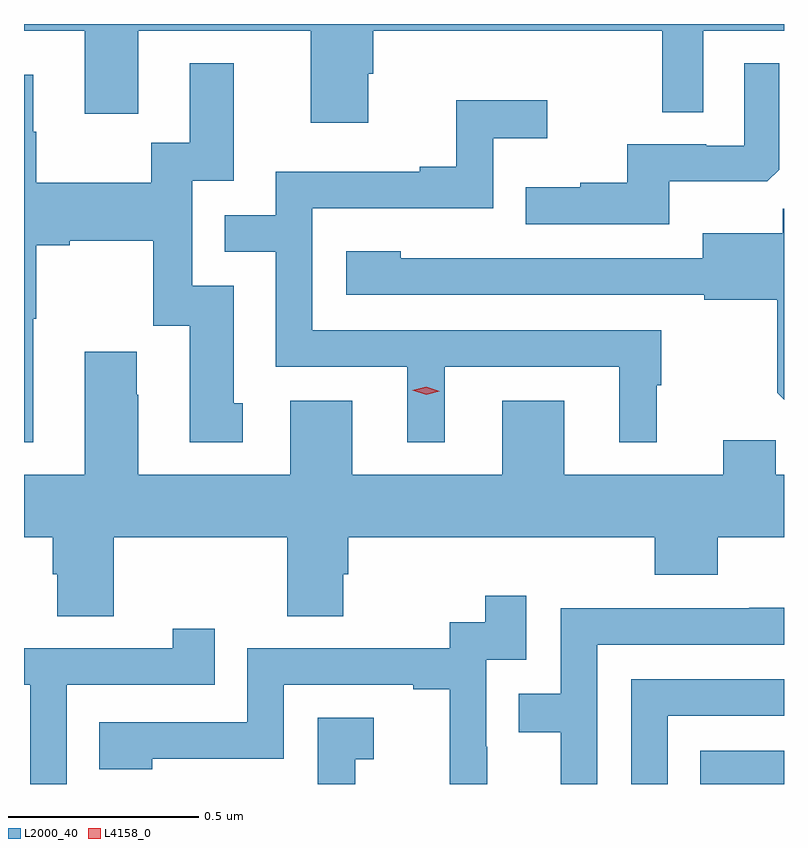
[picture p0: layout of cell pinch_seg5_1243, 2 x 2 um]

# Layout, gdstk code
import gdstk
lib = gdstk.Library(unit=1e-6, precision=1e-09)
def R(c, l, rs):  # rectangles x0, y0, x1, y1
    for r in rs: c.add(gdstk.rectangle(r[:2], r[2:], *l))
def P(c, l, *ps):  # polygons
    for p in ps: c.add(gdstk.Polygon(p, *l))
L2000_40 = (2000, 40)
L4158_0 = (4158, 0)

pinch_seg5_1243 = lib.new_cell('pinch_seg5_1243')
R(pinch_seg5_1243, L2000_40, [(552.274,905.394,552.495,905.482)])
P(pinch_seg5_1243, L2000_40, [(551.401,907.263),(551.414,907.263),(551.414,907.376),(552.174,907.376),(552.174,907.162),(552.282,907.162),(552.282,907.376),(552.495,907.376),(552.495,907.394),(550.495,907.394),(550.495,907.376),(550.655,907.376),(550.655,907.158),(550.795,907.158),(550.795,907.376),(551.249,907.376),(551.249,907.134),(551.401,907.134)],
  [(552.193,906.98),(552.451,906.98),(552.483,907.011),(552.483,907.291),(552.39,907.291),(552.39,907.074),(552.29,907.074),(552.29,907.077),(552.083,907.077),(552.083,906.976),(551.959,906.976),(551.959,906.964),(551.815,906.964),(551.815,906.867),(552.193,906.867)],
  [(550.519,906.619),(550.527,906.619),(550.527,906.812),(550.615,906.812),(550.615,906.824),(550.835,906.824),(550.835,906.6),(550.931,906.6),(550.931,906.294),(551.071,906.294),(551.071,906.396),(551.047,906.396),(551.047,906.705),(550.938,906.705),(550.938,906.981),(551.047,906.981),(551.047,907.291),(550.931,907.291),(550.931,907.082),(550.83,907.082),(550.83,906.976),(550.527,906.976),(550.527,907.11),(550.519,907.11),(550.519,907.261),(550.495,907.261),(550.495,906.293),(550.519,906.293)],
  [(551.602,906.492),(552.062,906.492),(552.062,906.293),(552.16,906.293),(552.16,906.444),(552.172,906.444),(552.172,906.588),(551.253,906.588),(551.253,906.909),(551.73,906.909),(551.73,907.094),(551.872,907.094),(551.872,907.193),(551.632,907.193),(551.632,907.018),(551.537,907.018),(551.537,907.005),(551.157,907.005),(551.157,906.891),(551.023,906.891),(551.023,906.795),(551.157,906.795),(551.157,906.492),(551.504,906.492),(551.504,906.293),(551.602,906.293)],
  [(552.495,906.908),(552.492,906.908),(552.492,906.844),(552.281,906.844),(552.281,906.777),(551.723,906.777),(551.723,906.778),(551.487,906.778),(551.487,906.796),(551.343,906.796),(551.343,906.681),(552.285,906.681),(552.285,906.669),(552.477,906.669),(552.477,906.423),(552.495,906.405)],
  [(552.155,905.945),(552.32,905.945),(552.32,906.044),(552.495,906.044),(552.495,906.208),(552.473,906.208),(552.473,906.299),(552.335,906.299),(552.335,906.208),(551.917,906.208),(551.917,906.403),(551.753,906.403),(551.753,906.208),(551.359,906.208),(551.359,906.403),(551.195,906.403),(551.195,906.208),(550.795,906.208),(550.795,906.419),(550.792,906.419),(550.792,906.532),(550.655,906.532),(550.655,906.208),(550.495,906.208),(550.495,906.044),(550.571,906.044),(550.571,905.946),(550.583,905.946),(550.583,905.836),(550.731,905.836),(550.731,906.044),(551.188,906.044),(551.188,905.836),(551.335,905.836),(551.335,905.946),(551.348,905.946),(551.348,906.044),(552.155,906.044)],
  [(551.714,905.492),(551.712,905.492),(551.712,905.721),(551.817,905.721),(551.817,905.89),(551.709,905.89),(551.709,905.82),(551.616,905.82),(551.616,905.751),(551.082,905.751),(551.082,905.556),(550.693,905.556),(550.693,905.433),(550.833,905.433),(550.833,905.46),(551.178,905.46),(551.178,905.655),(551.519,905.655),(551.519,905.643),(551.615,905.643),(551.615,905.394),(551.714,905.394)],
  [(552.003,905.76),(552.495,905.76),(552.495,905.858),(552.403,905.858),(552.403,905.856),(551.907,905.856),(551.907,905.631),(551.797,905.631),(551.797,905.53),(551.907,905.53),(551.907,905.394),(552.003,905.394)],
  [(550.608,905.655),(550.997,905.655),(550.997,905.803),(550.886,905.803),(550.886,905.751),(550.495,905.751),(550.495,905.655),(550.512,905.655),(550.512,905.394),(550.608,905.394)],
  [(552.189,905.574),(552.495,905.574),(552.495,905.67),(552.093,905.67),(552.093,905.394),(552.189,905.394)],
  [(551.367,905.459),(551.416,905.459),(551.416,905.569),(551.268,905.569),(551.268,905.394),(551.367,905.394)])
P(pinch_seg5_1243, L4158_0, [(551.553,906.419),(551.517,906.43),(551.517,906.43),(551.517,906.43),(551.553,906.439),(551.589,906.428),(551.589,906.428),(551.589,906.428)])

lib.write_gds('pinch_seg5_1243.gds')
